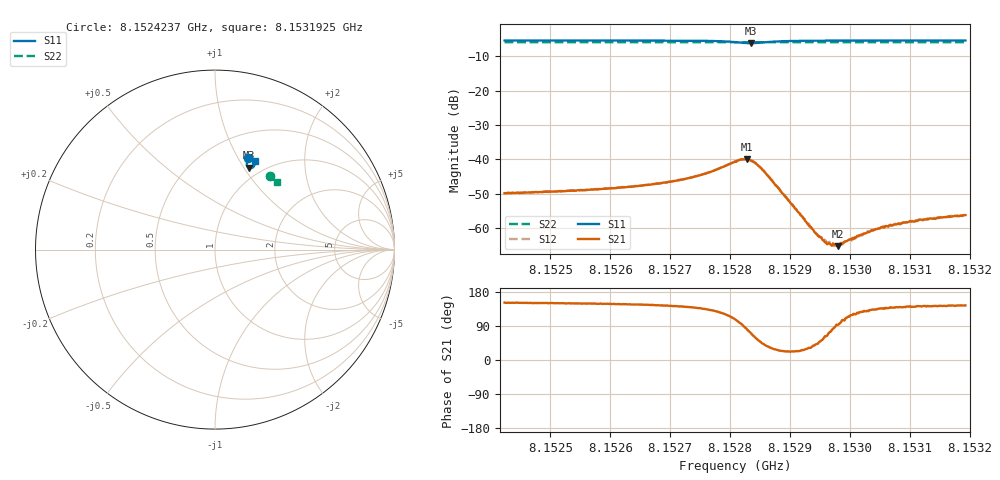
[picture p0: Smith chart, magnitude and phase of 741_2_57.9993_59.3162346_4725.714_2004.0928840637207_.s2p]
#  HZ  S  RI  R  50.00
! Rohde & Schwarz Vector Network Analyzer
! Rohde-Schwarz,ZNB20-2Port,1311601062101988,3.16
! Created: UTC 3/21/2024, 1:23:35 AM
! freq[Hz]  re:S11  im:S11  re:S21  im:S21  re:S12  im:S12  re:S22  im:S22
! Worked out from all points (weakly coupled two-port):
!   401 points, 8.1524237 GHz to 8.1531925 GHz, reference 50 ohm
!   highest |S21| = -39.95 dB at 8.1528273 GHz (marker M1); lowest = -65.3 dB at 8.1529791 GHz (marker M2)
!   lowest |S11| = -6.1 dB at 8.152835 GHz (marker M3), VSWR 2.95, Z = 43.6 + j52.6 ohm
!   |S11| at or under -10 dB: nowhere
!   |S22| runs from -5.9 to -5.8 dB; largest |S21 - S12| = 0.00023
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8.15242373e9  0.1838 0.5081  -0.00282 0.00154  -0.0028 0.0016  0.3065 0.409
8.15255249e9  0.1938 0.5042  -0.00302 0.00185  -0.00306 0.00187  0.3131 0.4038
8.15268126e9  0.2059 0.4983  -0.00359 0.00259  -0.00359 0.00267  0.3195 0.3985
8.15274852e9  0.2147 0.4905  -0.00423 0.004  -0.00419 0.00408  0.3227 0.3954
8.1528081e9  0.2162 0.4639  -0.00285 0.0089  -0.00273 0.00886  0.3252 0.3921
8.15282732e9  0.1983 0.4541  0.00133 0.00997  0.00134 0.00997  0.3254 0.3913
8.15283501e9  0.1884 0.4564  0.00323 0.00908  0.00337 0.00905  0.3255 0.3912
8.15284269e9  0.181 0.4627  0.00463 0.00734  0.00471 0.00749  0.3257 0.3912
8.15285615e9  0.1766 0.4764  0.00507 0.00455  0.00514 0.00449  0.3263 0.3912
8.15293686e9  0.1987 0.4979  0.000789 0.000569  0.000798 0.000536  0.3312 0.3884
8.1529484e9  0.2009 0.498  0.000516 0.000559  0.000524 0.000519  0.3318 0.388
8.15295801e9  0.2025 0.4979  0.000286 0.00055  0.000346 0.000565  0.3322 0.3874
8.15297146e9  0.2045 0.4978  7.71e-05 0.000592  8.45e-05 0.000568  0.3329 0.387
8.15297915e9  0.2055 0.4976  -2.27e-05 0.000543  -2.06e-05 0.000574  0.3333 0.3866
8.15298683e9  0.2065 0.4974  -0.000155 0.000566  -0.000138 0.000555  0.3338 0.3864
8.15299644e9  0.2077 0.4973  -0.00027 0.000598  -0.000282 0.000613  0.3342 0.3858
8.15300413e9  0.2087 0.4972  -0.00035 0.000624  -0.0003 0.000599  0.3344 0.3856
8.15303872e9  0.2123 0.4962  -0.000625 0.000673  -0.00064 0.000683  0.3361 0.384
8.15306563e9  0.2148 0.4955  -0.000798 0.000732  -0.000795 0.000758  0.3376 0.3829
8.15311944e9  0.2198 0.4939  -0.00102 0.000824  -0.00103 0.000844  0.34 0.3806
8.15314827e9  0.2219 0.4931  -0.00111 0.00084  -0.00112 0.000881  0.3413 0.3794
8.15319247e9  0.2254 0.4917  -0.00125 0.000905  -0.00123 0.000887  0.3436 0.3773
